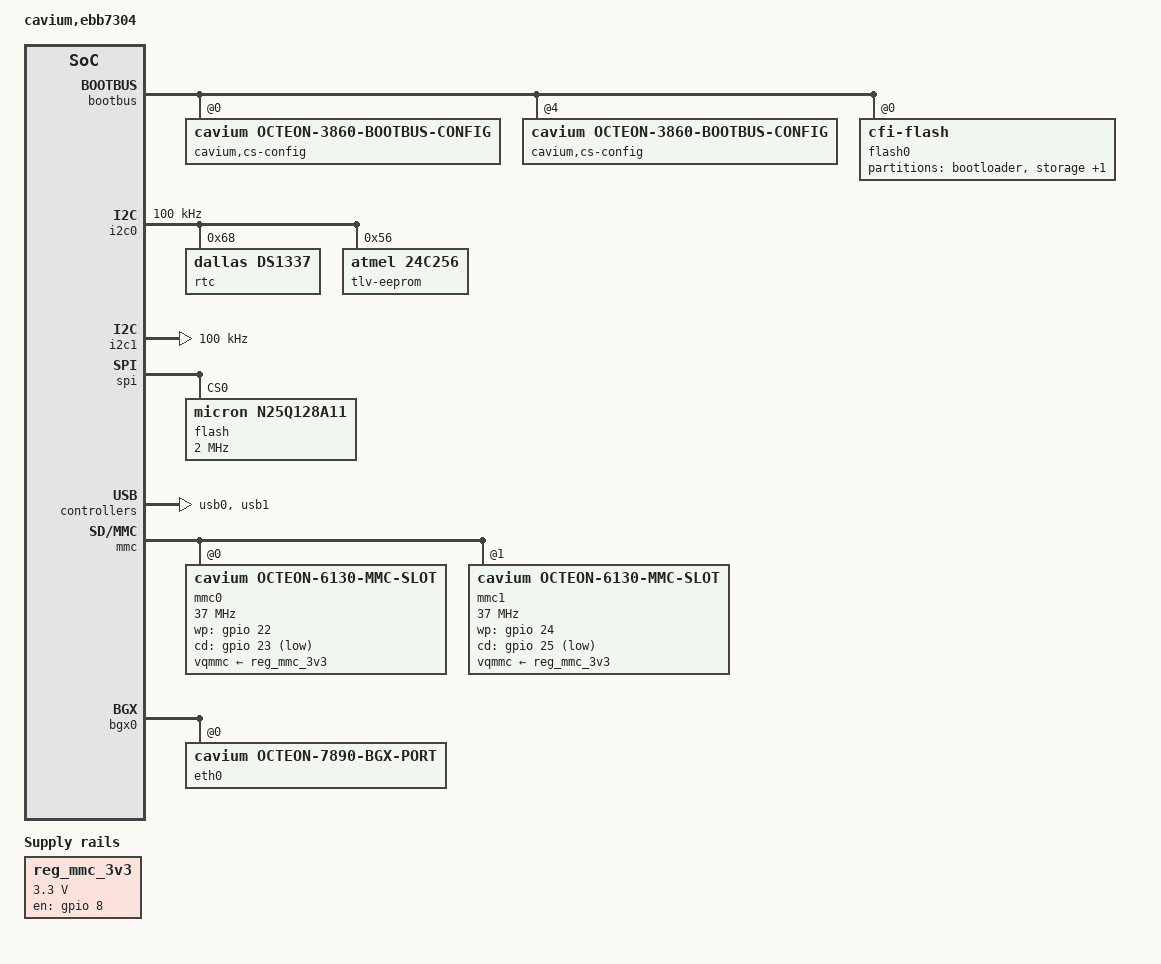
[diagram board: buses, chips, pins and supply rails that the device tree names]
// SPDX-License-Identifier: GPL-2.0+
/*
 * Marvell / Cavium Inc. EVB CN7300
 */

/dts-v1/;

#include "mrvl,cn73xx.dtsi"
#include <dt-bindings/gpio/gpio.h>

/ {
	model = "cavium,ebb7304";
	compatible = "cavium,ebb7304";

	aliases {
		mmc0 = &mmc0;
		mmc1 = &mmc1;
		serial0 = &uart0;
		spi0 = &spi;
	};

	regulators {
		compatible = "simple-bus";
		#address-cells = <1>;
		#size-cells = <0>;

		/* Power on GPIO 8, active high */
		reg_mmc_3v3: regulator@0 {
			compatible = "regulator-fixed";
			reg = <0>;
			regulator-name = "mmc-3v3";
			regulator-min-microvolt = <3300000>;
			regulator-max-microvolt = <3300000>;
			gpio = <&gpio 8 GPIO_ACTIVE_HIGH>;
			enable-active-high;
		};
	};

	chosen {
		stdout-path = &uart0;
	};
};

&bootbus {
	/*
	 * bootbus CS0 for CFI flash is remapped (0x1fc0.0000 -> 1f40.0000)
	 * as the initial size is too small for the 8MiB flash device
	 */
	ranges = <0 0  0       0x1f400000  0xc00000>,
		 <1 0  0x10000 0x10000000  0>,
		 <2 0  0x10000 0x20000000  0>,
		 <3 0  0x10000 0x30000000  0>,
		 <4 0  0       0x1d020000  0x10000>,
		 <5 0  0x10000 0x50000000  0>,
		 <6 0  0x10000 0x60000000  0>,
		 <7 0  0x10000 0x70000000  0>;

	cavium,cs-config@0 {
		compatible = "cavium,octeon-3860-bootbus-config";
		cavium,cs-index = <0>;
		cavium,t-adr  = <10>;
		cavium,t-ce   = <50>;
		cavium,t-oe   = <50>;
		cavium,t-we   = <35>;
		cavium,t-rd-hld = <25>;
		cavium,t-wr-hld = <35>;
		cavium,t-pause  = <0>;
		cavium,t-wait   = <50>;
		cavium,t-page   = <30>;
		cavium,t-rd-dly = <0>;
		cavium,page-mode = <1>;
		cavium,pages     = <8>;
		cavium,bus-width = <8>;
	};

	cavium,cs-config@4 {
		compatible = "cavium,octeon-3860-bootbus-config";
		cavium,cs-index = <4>;
		cavium,t-adr  = <10>;
		cavium,t-ce   = <10>;
		cavium,t-oe   = <160>;
		cavium,t-we   = <100>;
		cavium,t-rd-hld = <10>;
		cavium,t-wr-hld = <0>;
		cavium,t-pause  = <50>;
		cavium,t-wait   = <50>;
		cavium,t-page   = <10>;
		cavium,t-rd-dly = <10>;
		cavium,pages     = <0>;
		cavium,bus-width = <8>;
	};

	flash0: nor@0,0 {
		compatible = "cfi-flash";
		reg = <0 0 0x800000>;
		#address-cells = <1>;
		#size-cells = <1>;
		partition@0 {
			label = "bootloader";
			reg = <0 0x340000>;
			read-only;
		};
		partition@300000 {
			label = "storage";
			reg = <0x340000 0x4be000>;
		};
		partition@7fe000 {
			label = "environment";
			reg = <0x7fe000 0x2000>;
			read-only;
		};
	};
};

&i2c0 {
	bootph-all;	/* Needed early for DDR SPD EEPROM */
	clock-frequency = <100000>;

	rtc@68 {
		compatible = "dallas,ds1337";
		reg = <0x68>;
	};

	tlv-eeprom@56 {
		compatible = "atmel,24c256", "microchip,24lc256";
		reg = <0x56>;
		pagesize = <64>;
	};
};

&i2c1 {
	bootph-all;	/* Needed early for DDR SPD EEPROM */
	clock-frequency = <100000>;
};

&spi {
	flash@0 {
		compatible = "micron,n25q128a11", "jedec,spi-nor";
		spi-max-frequency = <2000000>;
		reg = <0>;
	};
};

/* USB 0 */
&usb0 {
	status = "okay";
	/*
	 * Power is specified by three parts:
	 * 1) GPIO handle (must be &gpio)
	 * 2) GPIO pin number
	 * 3) Active high (0) or active low (1)
	 */
	power = <&gpio 20 0>;
};

/* USB 1 */
&usb1 {
	status = "okay";
	/*
	 * Power is specified by three parts:
	 * 1) GPIO handle (must be &gpio)
	 * 2) GPIO pin number
	 * 3) Active high (0) or active low (1)
	 */
	power = <&gpio 21 0>;
};

&mmc {
	status = "okay";

	/* The board has two MMC slots
	 * If both are occupied, the speed must be reduced,
	 * as extra data-line load increases slew time,
	 * and dat-skew adjustment does not help significantly.
	 */
	mmc0: mmc-slot@0 {
		compatible = "cavium,octeon-6130-mmc-slot", "mmc-slot";
		reg = <0>;
		vqmmc-supply = <&reg_mmc_3v3>;
		voltage-ranges = <3300 3300>;
		//spi-max-frequency = <52000000>; // just one
		spi-max-frequency = <37000000>; // both slots
		/* bus width can be 1, 4 or 8 */
		bus-width = <8>; /* new std property */
		cavium,bus-max-width = <8>; /* custom property */
		wp-gpios = <&gpio 22 0>; /* active high */
		cd-gpios = <&gpio 23 1>; /* active low */
	};

	mmc1: mmc-slot@1 {
		compatible = "cavium,octeon-6130-mmc-slot", "mmc-slot";
		reg = <1>;
		vqmmc-supply = <&reg_mmc_3v3>;
		voltage-ranges = <3300 3300>;
		//spi-max-frequency = <52000000>; // just one
		spi-max-frequency = <37000000>; // both slots
		/* bus width can be 1, 4 or 8 */
		bus-width = <8>; /* new std property */
		cavium,bus-max-width = <8>; /* custom property */
		wp-gpios = <&gpio 24 0>; /* active high */
		cd-gpios = <&gpio 25 1>; /* active low */
	};
};

/* SMI_1 -- Available on rev 2 and later boards */
&smi1 {
	/**
	 * The phy names are broken down as follows:
	 * (m)phyxxyzzs
	 * where:
	 *	xx = 01 for SGMII, 10 for DXAUI, 20 for RXAUI
	 *	     and 40 for XFI/LXAUI
	 *	y = QLM/DLM number
	 *	zz = PHY address (decimal)
	 *	s = sub-phy number in the case of the Cortina
	 *	    PHY
	 * a mphy is a nexus phy that contains one or more
	 * sub-phys, for example the Cortina CS4223.
	 */

	/* QLM 2 */
	phy01208: ethernet-phy@01208 {
		reg = <8>;
		compatible = "marvell,88e1240", "ethernet-phy-ieee802.3-c22";

		marvell,reg-init = <3 0x10 0 0x8665>,
				   <3 0x11 0 0x00aa>,
				   <3 0x12 0 0x4105>,
				   <3 0x13 0 0x8a08>;

		interrupt-parent = <&gpio>;
		interrupts = <12 8>; /* Pin 12, active low */
	};
};

/* BGX 0 */
&bgx0 {
	status = "okay";
	phy-handle = <&phy01208>; /* put phy-handle in BGX node and MAC node */

	/* SerDes 0, may differ from PCS Lane/LMAC */
	eth0: ethernet-mac@D {
		compatible = "cavium,octeon-7890-bgx-port";
		reg = <0>;
		local-mac-address = [ 00 00 00 00 00 00 ];
		phy-handle = <&phy01208>;
	};
};
